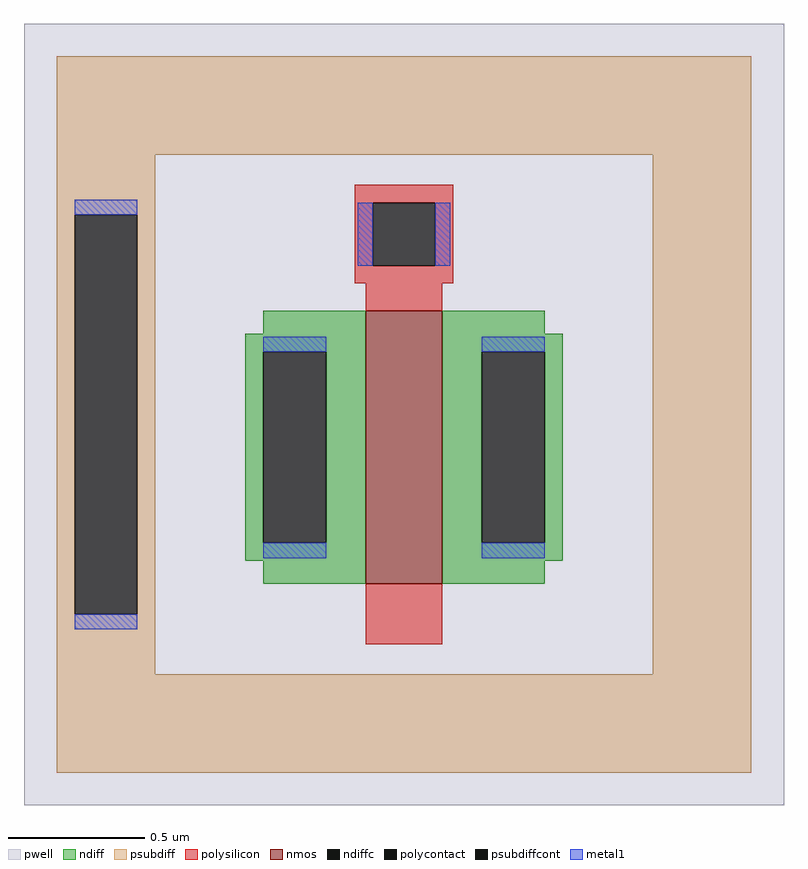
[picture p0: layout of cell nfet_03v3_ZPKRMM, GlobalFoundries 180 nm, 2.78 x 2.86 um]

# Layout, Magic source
magic
tech gf180mcuD
magscale 1 10
<< pwell >>
rect -278 -286 278 286
<< nmos >>
rect -28 -124 28 76
<< ndiff >>
rect -103 59 -28 76
rect -116 46 -28 59
rect -116 -94 -103 46
rect -57 -94 -28 46
rect -116 -107 -28 -94
rect -103 -124 -28 -107
rect 28 59 103 76
rect 28 46 116 59
rect 28 -94 57 46
rect 103 -94 116 46
rect 28 -107 116 -94
rect 28 -124 103 -107
<< ndiffc >>
rect -103 -94 -57 46
rect 57 -94 103 46
<< psubdiff >>
rect -254 190 254 262
rect -254 146 -182 190
rect -254 -146 -241 146
rect -195 -146 -182 146
rect -254 -190 -182 -146
rect 182 -190 254 190
rect -254 -262 254 -190
<< psubdiffcont >>
rect -241 -146 -195 146
<< polysilicon >>
rect -36 155 36 168
rect -36 109 -23 155
rect 23 109 36 155
rect -36 96 36 109
rect -28 76 28 96
rect -28 -168 28 -124
<< polycontact >>
rect -23 109 23 155
<< metal1 >>
rect -241 146 -195 157
rect -34 109 -23 155
rect 23 109 34 155
rect -103 46 -57 57
rect -103 -105 -57 -94
rect 57 46 103 57
rect 57 -105 103 -94
rect -241 -157 -195 -146
<< properties >>
string FIXED_BBOX -218 -226 218 226
string gencell nfet_03v3
string library gf180mcu
string parameters w 1.0 l 0.28 m 1 nf 1 diffcov 80 polycov 100 guard 1 glc 1 grc 0 gtc 0 gbc 0 tbcov 100 rlcov 100 topc 1 botc 0 poverlap 0 doverlap 1 lmin 0.28 wmin 0.22 class mosfet full_metal 0 compatible {nfet_03v3 nfet_05v0 nfet_06v0 nfet_06v0_nvt}
<< end >>
